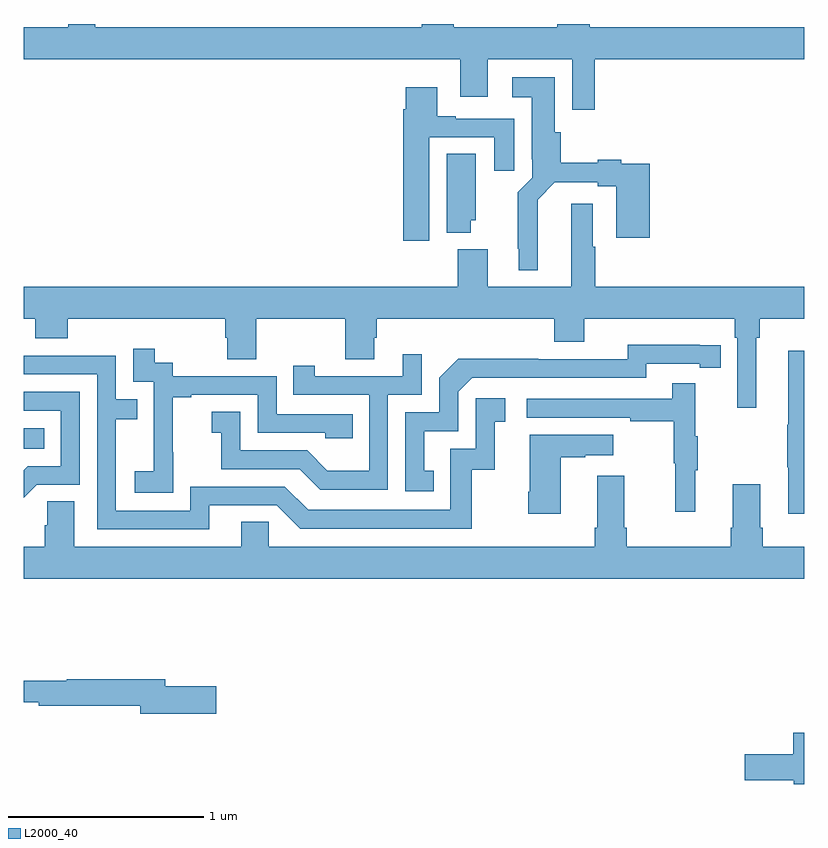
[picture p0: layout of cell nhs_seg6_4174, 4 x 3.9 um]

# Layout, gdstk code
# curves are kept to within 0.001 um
import gdstk
lib = gdstk.Library(unit=1e-6, precision=1e-09)
def R(c, l, rs):  # rectangles x0, y0, x1, y1
    for r in rs: c.add(gdstk.rectangle(r[:2], r[2:], *l))
def P(c, l, *ps):  # polygons
    for p in ps: c.add(gdstk.Polygon(p, *l))
L2000_40 = (2000, 40)

nhs_seg6_4174 = lib.new_cell('nhs_seg6_4174')
R(nhs_seg6_4174, L2000_40, [(357,961.322,357.104,961.426)])
P(nhs_seg6_4174, L2000_40, [(359.927,963.32),(361,963.32),(361,963.484),(359.9,963.484),(359.9,963.5),(359.735,963.5),(359.735,963.484),(359.204,963.484),(359.204,963.5),(359.039,963.5),(359.039,963.484),(357.366,963.484),(357.366,963.5),(357.227,963.5),(357.227,963.484),(357,963.484),(357,963.32),(359.237,963.32),(359.237,963.126),(359.377,963.126),(359.377,963.32),(359.811,963.32),(359.811,963.06),(359.927,963.06)],
  [(359.635,962.6),(359.722,962.688),(359.942,962.688),(359.942,962.668),(360.038,962.668),(360.038,962.403),(360.209,962.403),(360.209,962.784),(360.062,962.784),(360.062,962.804),(359.942,962.804),(359.942,962.789),(359.753,962.789),(359.753,962.946),(359.722,962.946),(359.722,963.226),(359.505,963.226),(359.505,963.125),(359.603,963.125),(359.603,962.806),(359.607,962.806),(359.607,962.712),(359.533,962.638),(359.533,962.347),(359.537,962.347),(359.537,962.237),(359.635,962.237)],
  [(359.077,962.919),(359.411,962.919),(359.411,962.748),(359.515,962.748),(359.515,963.015),(359.215,963.015),(359.215,963.028),(359.119,963.028),(359.119,963.175),(358.958,963.175),(358.958,963.062),(358.946,963.062),(358.946,962.388),(359.077,962.388)],
  [(359.29,962.493),(359.317,962.493),(359.317,962.834),(359.168,962.834),(359.168,962.429),(359.29,962.429)],
  [(360.754,961.892),(360.773,961.892),(360.773,961.988),(361,961.988),(361,962.152),(359.93,962.152),(359.93,962.357),(359.917,962.357),(359.917,962.578),(359.807,962.578),(359.807,962.152),(359.377,962.152),(359.377,962.344),(359.225,962.344),(359.225,962.152),(357,962.152),(357,961.988),(357.059,961.988),(357.059,961.889),(357.224,961.889),(357.224,961.988),(358.031,961.988),(358.031,961.89),(358.043,961.89),(358.043,961.78),(358.191,961.78),(358.191,961.988),(358.648,961.988),(358.648,961.78),(358.795,961.78),(358.795,961.89),(358.808,961.89),(358.808,961.988),(359.72,961.988),(359.72,961.871),(359.872,961.871),(359.872,961.988),(360.644,961.988),(360.644,961.892),(360.657,961.892),(360.657,961.533),(360.754,961.533)],
  [(359.102,961.209),(359.053,961.209),(359.053,961.413),(359.226,961.413),(359.226,961.614),(359.298,961.686),(360.192,961.686),(360.192,961.758),(360.464,961.758),(360.464,961.738),(360.572,961.738),(360.572,961.854),(360.096,961.855),(360.096,961.782),(359.636,961.782),(359.636,961.784),(359.228,961.784),(359.13,961.686),(359.13,961.509),(358.956,961.509),(358.956,961.104),(359.102,961.104)],
  [(357.765,961.303),(357.764,961.303),(357.764,961.587),(357.859,961.587),(357.859,961.599),(358.2,961.599),(358.2,961.404),(358.545,961.404),(358.545,961.377),(358.685,961.377),(358.685,961.5),(358.296,961.5),(358.296,961.695),(357.762,961.695),(357.762,961.764),(357.67,961.764),(357.67,961.834),(357.561,961.834),(357.561,961.665),(357.666,961.665),(357.666,961.436),(357.665,961.436),(357.665,961.207),(357.567,961.207),(357.567,961.097),(357.765,961.097)],
  [(361,961.825),(360.92,961.825),(360.92,961.445),(360.913,961.445),(360.913,961.228),(360.92,961.228),(360.92,960.99),(361,960.99)],
  [(358.866,961.599),(359.04,961.599),(359.04,961.807),(358.943,961.807),(358.943,961.695),(358.492,961.695),(358.492,961.747),(358.381,961.747),(358.381,961.599),(358.77,961.599),(358.77,961.21),(358.556,961.21),(358.452,961.314),(358.11,961.314),(358.11,961.513),(357.963,961.513),(357.963,961.403),(358.012,961.403),(358.012,961.218),(358.415,961.218),(358.52,961.113),(358.866,961.113)],
  [(357.949,961.032),(358.296,961.032),(358.416,960.912),(359.296,960.912),(359.296,961.215),(359.414,961.215),(359.414,961.461),(359.467,961.461),(359.467,961.582),(359.316,961.582),(359.316,961.323),(359.187,961.323),(359.187,961.008),(358.458,961.008),(358.338,961.128),(357.852,961.128),(357.852,961.005),(357.471,961.005),(357.471,961.474),(357.581,961.474),(357.581,961.575),(357.471,961.575),(357.471,961.8),(357,961.8),(357,961.704),(357.375,961.704),(357.375,960.909),(357.949,960.909)],
  [(360.443,961.211),(360.454,961.211),(360.454,961.385),(360.443,961.385),(360.443,961.657),(360.325,961.657),(360.325,961.578),(359.577,961.578),(359.577,961.482),(360.109,961.482),(360.109,961.462),(360.333,961.462),(360.333,961.248),(360.34,961.248),(360.34,960.999),(360.443,960.999)],
  [(357.066,961.137),(357.285,961.137),(357.285,961.614),(357,961.614),(357,961.518),(357.189,961.518),(357.189,961.233),(357.02,961.233),(357,961.213),(357,961.072)],
  [(359.752,961.279),(359.879,961.279),(359.879,961.289),(360.022,961.289),(360.022,961.393),(359.594,961.393),(359.594,961.102),(359.587,961.102),(359.587,960.99),(359.752,960.99)],
  [(361,960.82),(360.788,960.82),(360.788,960.916),(360.775,960.916),(360.775,961.141),(360.635,961.141),(360.635,960.916),(360.623,960.916),(360.623,960.82),(360.092,960.82),(360.092,960.916),(360.079,960.916),(360.079,961.183),(359.939,961.183),(359.939,960.916),(359.927,960.916),(359.927,960.82),(358.254,960.82),(358.254,960.947),(358.115,960.947),(358.115,960.82),(357.259,960.82),(357.259,961.052),(357.12,961.052),(357.12,960.929),(357.107,960.929),(357.107,960.82),(357,960.82),(357,960.656),(361,960.656)],
  [(357.985,960.104),(357.724,960.104),(357.724,960.14),(357.22,960.14),(357.22,960.133),(357,960.133),(357,960.023),(357.076,960.023),(357.076,960.004),(357.596,960.004),(357.596,959.962),(357.985,959.962)],
  [(361,959.866),(360.944,959.866),(360.944,959.756),(360.696,959.756),(360.696,959.621),(360.948,959.621),(360.948,959.603),(361,959.603)])

lib.write_gds('nhs_seg6_4174.gds')
